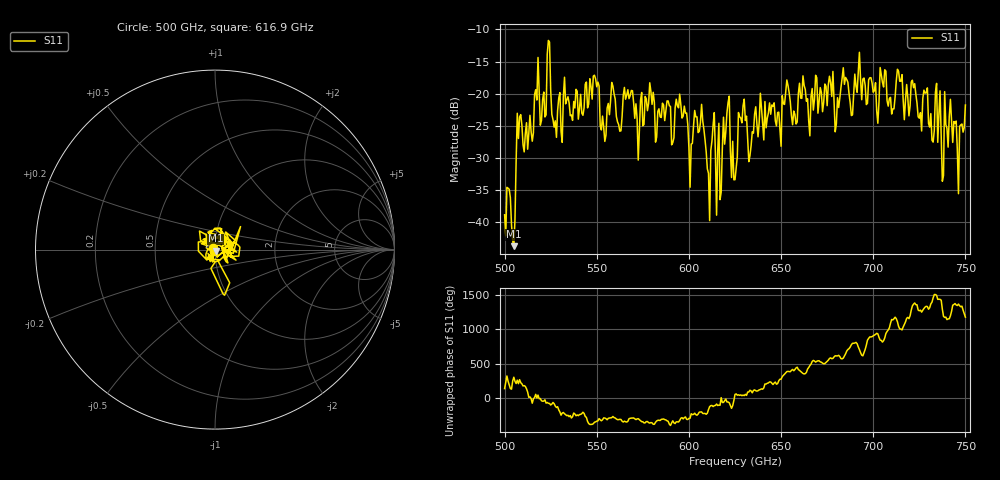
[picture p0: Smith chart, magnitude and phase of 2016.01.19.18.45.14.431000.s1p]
!Created with skrf (http://scikit-rf.org).
# GHz S RI R 50.0
!freq ReS11 ImS11
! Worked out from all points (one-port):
!   401 points, 500 GHz to 750 GHz, reference 50 ohm
!   lowest |S11| = -43.7 dB at 505 GHz (marker M1), VSWR 1.01, Z = 50.4 - j0.554 ohm
!   |S11| at or under -10 dB: start of sweep to end of sweep
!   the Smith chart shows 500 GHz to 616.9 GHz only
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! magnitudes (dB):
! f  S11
! 500 GHz  -38.8
! 505 GHz  -43.7
! 508.1 GHz  -23.6
! 521.2 GHz  -19.7
! 523.8 GHz  -11.7
! 526.9 GHz  -25.2
! 531.2 GHz  -27.5
! 549.4 GHz  -17.7
! 553.1 GHz  -23.5
! 558.8 GHz  -18.8
! 562.5 GHz  -25.8
! 565.6 GHz  -20.8
! 593.8 GHz  -21.9
! 600.6 GHz  -34.5
! 607.5 GHz  -24.2
! 610.6 GHz  -32.4
! 613.1 GHz  -24.8
! 616.2 GHz  -24.6
! 620.6 GHz  -22.9
! 625 GHz  -33.3
! 628.8 GHz  -24.5
! 633.1 GHz  -29.6
! 656.2 GHz  -24.8
! 687.5 GHz  -21.4
! 718.8 GHz  -20.6
! 735 GHz  -27.5
! 738.1 GHz  -32.7
! 750 GHz  -21.7
